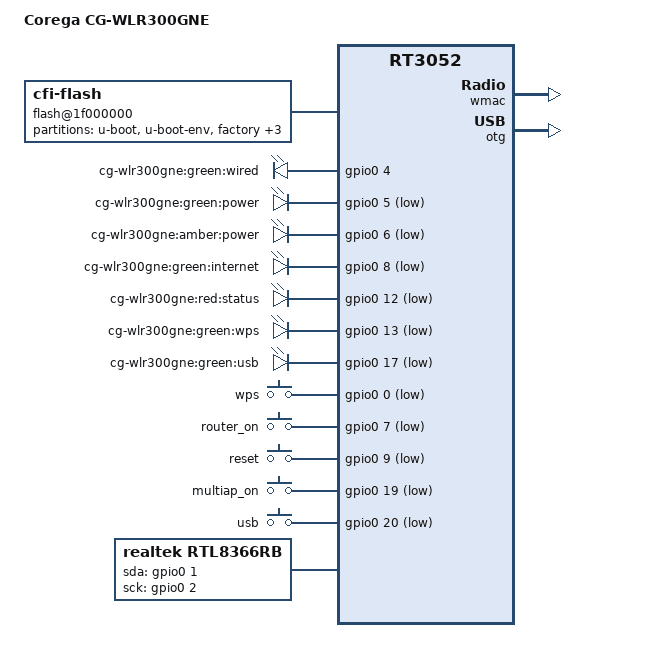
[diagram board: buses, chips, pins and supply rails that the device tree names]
/dts-v1/;

#include "rt3050.dtsi"

#include <dt-bindings/gpio/gpio.h>
#include <dt-bindings/input/input.h>

/ {
	compatible = "corega,cg-wlr300gne", "ralink,rt3052-soc";
	model = "Corega CG-WLR300GNE";

	aliases {
		led-boot = &led_power_green;
		led-failsafe = &led_power_amber;
		led-running = &led_power_green;
		led-upgrade = &led_power_green;
	};

	flash@1f000000 {
		compatible = "cfi-flash";
		reg = <0x1f000000 0x800000>;
		bank-width = <2>;
		device-width = <2>;

		partitions {
			compatible = "fixed-partitions";
			#address-cells = <1>;
			#size-cells = <1>;

			partition@0 {
				label = "u-boot";
				reg = <0x0 0x40000>;
				read-only;
			};

			partition@40000 {
				label = "u-boot-env";
				reg = <0x40000 0x10000>;
				read-only;
			};

			factory: partition@50000 {
				label = "factory";
				reg = <0x50000 0x10000>;
				read-only;
			};

			partition@60000 {
				compatible = "denx,uimage";
				label = "firmware";
				reg = <0x60000 0x780000>;
			};

			partition@7e0000 {
				label = "NVRAM";
				reg = <0x7e0000 0x10000>;
			};

			partition@7f0000 {
				label = "NVRAM_FACTORY";
				reg = <0x7f0000 0x10000>;
			};
		};
	};

	leds {
		compatible = "gpio-leds";

		wired {
			label = "cg-wlr300gne:green:wired";
			gpios = <&gpio0 4 GPIO_ACTIVE_HIGH>;
		};

		led_power_green: power_green {
			label = "cg-wlr300gne:green:power";
			gpios = <&gpio0 5 GPIO_ACTIVE_LOW>;
		};

		led_power_amber: power_amber {
			label = "cg-wlr300gne:amber:power";
			gpios = <&gpio0 6 GPIO_ACTIVE_LOW>;
		};

		internet {
			label = "cg-wlr300gne:green:internet";
			gpios = <&gpio0 8 GPIO_ACTIVE_LOW>;
		};

		status {
			label = "cg-wlr300gne:red:status";
			gpios = <&gpio0 12 GPIO_ACTIVE_LOW>;
		};

		wps {
			label = "cg-wlr300gne:green:wps";
			gpios = <&gpio0 13 GPIO_ACTIVE_LOW>;
		};

		usb {
			label = "cg-wlr300gne:green:usb";
			gpios = <&gpio0 17 GPIO_ACTIVE_LOW>;
			linux,default-trigger = "usbport";
			trigger-sources = <&otg_port1>;
		};
	};

	keys {
		compatible = "gpio-keys";

		wps {
			label = "wps";
			gpios = <&gpio0 0 GPIO_ACTIVE_LOW>;
			linux,code = <KEY_WPS_BUTTON>;
		};

		router_on {
			label = "router_on";
			gpios = <&gpio0 7 GPIO_ACTIVE_LOW>;
			linux,input-type = <EV_SW>;
			linux,code = <BTN_0>;
		};

		reset {
			label = "reset";
			gpios = <&gpio0 9 GPIO_ACTIVE_LOW>;
			linux,code = <KEY_RESTART>;
		};

		multiap_on {
			label = "multiap_on";
			gpios = <&gpio0 19 GPIO_ACTIVE_LOW>;
			linux,input-type = <EV_SW>;
			linux,code = <BTN_1>;
		};

		usb {
			label = "usb";
			gpios = <&gpio0 20 GPIO_ACTIVE_LOW>;
			linux,code = <BTN_2>;
		};
	};

	rtl8366rb {
		compatible = "realtek,rtl8366rb";
		gpio-sda = <&gpio0 1 GPIO_ACTIVE_HIGH>;
		gpio-sck = <&gpio0 2 GPIO_ACTIVE_HIGH>;
	};
};

&pinctrl {
	state_default: pinctrl0 {
		gpio {
			ralink,group = "spi", "i2c", "jtag", "mdio", "uartf";
			ralink,function = "gpio";
		};
	};
};

&ethernet {
	mtd-mac-address = <&factory 0x4>;
	pinctrl-names = "default";
	pinctrl-0 = <&rgmii_pins>;
};

&esw {
//	ralink,rgmii = <1>;
	/*
	 * ext phy base addr 31, rx/tx clock skew 0,
	 * turbo mii off, rgmi 3.3v off, port 5 polling off
	 * port5: enabled, gige, full-duplex, rx/tx-flow-control
	 * port6: enabled, gige, full-duplex, rx/tx-flow-control
	*/
	ralink,fpa2 = <0x1f503fff>;
};

&wmac {
	ralink,mtd-eeprom = <&factory 0x0>;
};

&otg {
	status = "okay";
};
